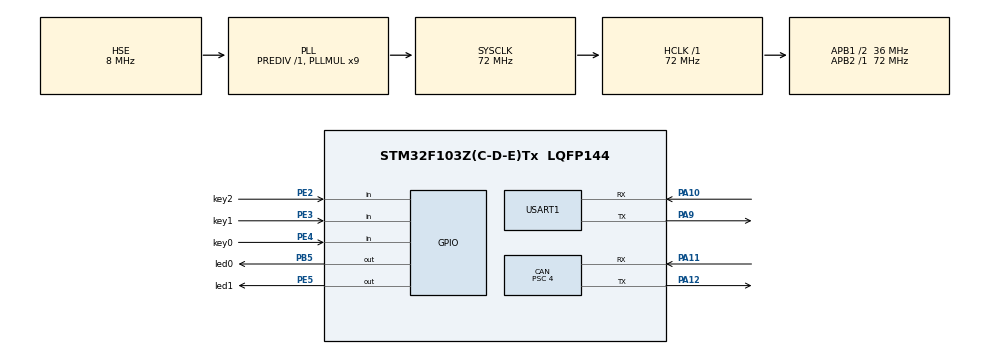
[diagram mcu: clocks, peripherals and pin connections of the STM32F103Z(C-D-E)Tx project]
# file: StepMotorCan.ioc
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CAN.BS1=CAN_BS1_9TQ
CAN.BS2=CAN_BS2_8TQ
CAN.CalculateBaudRate=500000
CAN.CalculateTimeBit=2000
CAN.CalculateTimeQuantum=111.11111111111111
CAN.Prescaler=4
Dma.Request0=USART1_TX
Dma.USART1_TX.0.Direction=DMA_MEMORY_TO_PERIPH
Dma.USART1_TX.0.Instance=DMA1_Channel4
Dma.USART1_TX.0.MemDataAlignment=DMA_MDATAALIGN_BYTE
Dma.USART1_TX.0.MemInc=DMA_MINC_ENABLE
Dma.USART1_TX.0.Mode=DMA_NORMAL
Dma.USART1_TX.0.PeriphDataAlignment=DMA_PDATAALIGN_BYTE
Dma.USART1_TX.0.PeriphInc=DMA_PINC_DISABLE
Dma.USART1_TX.0.Priority=DMA_PRIORITY_LOW
FREERTOS.Tasks01=defaultTask,24,256,StartDefaultTask,Default,NULL,Dynamic,NULL,NULL;ledBlinkTask,8,128,StartTask02,Default,NULL,Dynamic,NULL,NULL;canTask,8,256,StartTask03,Default,NULL,Dynamic,NULL,NULL;speedLoopTask,8,128,StartTask04,Default,NULL,Dynamic,NULL,NULL
FREERTOS.configMINIMAL_STACK_SIZE=128
FREERTOS.configTOTAL_HEAP_SIZE=4096
FREERTOS.configUSE_NEWLIB_REENTRANT=1
Mcu.Family=STM32F1
Mcu.Name=STM32F103Z(C-D-E)Tx
Mcu.Package=LQFP144
NVIC.DMA1_Channel4_IRQn=true\:5\:0\:false\:false\:true\:true\:false\:true\:true
NVIC.PriorityGroup=NVIC_PRIORITYGROUP_4
NVIC.TIM8_UP_IRQn=true\:15\:0\:false\:false\:true\:false\:false\:true\:true
NVIC.TimeBase=TIM8_UP_IRQn
NVIC.TimeBaseIP=TIM8
NVIC.USART1_IRQn=true\:5\:0\:false\:false\:true\:true\:true\:true\:true
NVIC.USB_LP_CAN1_RX0_IRQn=true\:5\:0\:false\:false\:true\:true\:true\:true\:true
OSC_IN.Mode=HSE-External-Oscillator
OSC_IN.Signal=RCC_OSC_IN
OSC_OUT.Mode=HSE-External-Oscillator
OSC_OUT.Signal=RCC_OSC_OUT
PA10.Mode=Asynchronous
PA10.Signal=USART1_RX
PA11.Mode=CAN_Activate
PA11.Signal=CAN_RX
PA12.Mode=CAN_Activate
PA12.Signal=CAN_TX
PA13.Mode=Serial_Wire
PA13.Signal=SYS_JTMS-SWDIO
PA14.Mode=Serial_Wire
PA14.Signal=SYS_JTCK-SWCLK
PA9.Mode=Asynchronous
PA9.Signal=USART1_TX
PB5.GPIO_Label=led0
PB5.Signal=GPIO_Output
PC14-OSC32_IN.Mode=LSE-External-Oscillator
PC14-OSC32_IN.Signal=RCC_OSC32_IN
PC15-OSC32_OUT.Mode=LSE-External-Oscillator
PC15-OSC32_OUT.Signal=RCC_OSC32_OUT
PE2.GPIO_Label=key2
PE2.GPIO_PuPd=GPIO_PULLUP
PE2.Signal=GPIO_Input
PE3.GPIO_Label=key1
PE3.GPIO_PuPd=GPIO_PULLUP
PE3.Signal=GPIO_Input
PE4.GPIO_Label=key0
PE4.GPIO_PuPd=GPIO_PULLUP
PE4.Signal=GPIO_Input
PE5.GPIO_Label=led1
PE5.Signal=GPIO_Output
ProjectManager.HeapSize=0x200
ProjectManager.StackSize=0x400
ProjectManager.TargetToolchain=STM32CubeIDE
RCC.AHBFreq_Value=72000000
RCC.APB1CLKDivider=RCC_HCLK_DIV2
RCC.APB1Freq_Value=36000000
RCC.APB1TimFreq_Value=72000000
RCC.APB2Freq_Value=72000000
RCC.APB2TimFreq_Value=72000000
RCC.HCLKFreq_Value=72000000
RCC.PLLMUL=RCC_PLL_MUL9
RCC.PLLSourceVirtual=RCC_PLLSOURCE_HSE
RCC.SYSCLKFreq_VALUE=72000000
RCC.SYSCLKSource=RCC_SYSCLKSOURCE_PLLCLK
RCC.USBFreq_Value=72000000
USART1.VirtualMode=VM_ASYNC
VP_FREERTOS_VS_CMSIS_V2.Mode=CMSIS_V2
VP_SYS_VS_tim8.Mode=TIM8
board=custom

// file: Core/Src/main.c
/* USER CODE BEGIN Header */
/**
  ******************************************************************************
  * @file           : main.c
  * @brief          : Main program body
  ******************************************************************************
  * @attention
  *
  * Copyright (c) 2024 STMicroelectronics.
  * All rights reserved.
  *
  * This software is licensed under terms that can be found in the LICENSE file
  * in the root directory of this software component.
  * If no LICENSE file comes with this software, it is provided AS-IS.
  *
  ******************************************************************************
  */
/* USER CODE END Header */
#include "main.h"
#include "cmsis_os.h"
#include "can.h"
#include "dma.h"
#include "usart.h"
#include "gpio.h"

/* USER CODE BEGIN PV */
stepmotor_device_t motor0= {
		  .device_id = motor0CanAddress,
		  .position = 0,
		  .target_position = 0,
		  .speed = 0,
		};
/* USER CODE END PV */

void SystemClock_Config(void);
void MX_FREERTOS_Init(void);

int main(void)
{

  /* MCU Configuration--------------------------------------------------------*/

  /* Reset of all peripherals, Initializes the Flash interface and the Systick. */
  HAL_Init();

  /* Configure the system clock */
  SystemClock_Config();

  /* Initialize all configured peripherals */
  MX_GPIO_Init();
  MX_DMA_Init();
  MX_CAN_Init();
  MX_USART1_UART_Init();

  /* Init scheduler */
  osKernelInitialize();

  /* Call init function for freertos objects (in cmsis_os2.c) */
  MX_FREERTOS_Init();

  /* Start scheduler */
  osKernelStart();

  /* We should never get here as control is now taken by the scheduler */

  /* Infinite loop */
  while (1)
  {

  }
}

void SystemClock_Config(void)
{
  RCC_OscInitTypeDef RCC_OscInitStruct = {0};
  RCC_ClkInitTypeDef RCC_ClkInitStruct = {0};

  /** Initializes the RCC Oscillators according to the specified parameters
  * in the RCC_OscInitTypeDef structure.
  */
  RCC_OscInitStruct.OscillatorType = RCC_OSCILLATORTYPE_HSE;
  RCC_OscInitStruct.HSEState = RCC_HSE_ON;
  RCC_OscInitStruct.HSEPredivValue = RCC_HSE_PREDIV_DIV1;
  RCC_OscInitStruct.HSIState = RCC_HSI_ON;
  RCC_OscInitStruct.PLL.PLLState = RCC_PLL_ON;
  RCC_OscInitStruct.PLL.PLLSource = RCC_PLLSOURCE_HSE;
  RCC_OscInitStruct.PLL.PLLMUL = RCC_PLL_MUL9;
  if (HAL_RCC_OscConfig(&RCC_OscInitStruct) != HAL_OK)
  {
    Error_Handler();
  }

  /** Initializes the CPU, AHB and APB buses clocks
  */
  RCC_ClkInitStruct.ClockType = RCC_CLOCKTYPE_HCLK|RCC_CLOCKTYPE_SYSCLK
                              |RCC_CLOCKTYPE_PCLK1|RCC_CLOCKTYPE_PCLK2;
  RCC_ClkInitStruct.SYSCLKSource = RCC_SYSCLKSOURCE_PLLCLK;
  RCC_ClkInitStruct.AHBCLKDivider = RCC_SYSCLK_DIV1;
  RCC_ClkInitStruct.APB1CLKDivider = RCC_HCLK_DIV2;
  RCC_ClkInitStruct.APB2CLKDivider = RCC_HCLK_DIV1;

  if (HAL_RCC_ClockConfig(&RCC_ClkInitStruct, FLASH_LATENCY_2) != HAL_OK)
  {
    Error_Handler();
  }
}

void HAL_TIM_PeriodElapsedCallback(TIM_HandleTypeDef *htim)
{
  if (htim->Instance == TIM8) {
    HAL_IncTick();
  }
}

void Error_Handler(void)
{
  __disable_irq();
  while (1)
  {
  }
}

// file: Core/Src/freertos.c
/* USER CODE BEGIN Header */
/**
  ******************************************************************************
  * File Name          : freertos.c
  * Description        : Code for freertos applications
  ******************************************************************************
  * @attention
  *
  * Copyright (c) 2024 STMicroelectronics.
  * All rights reserved.
  *
  * This software is licensed under terms that can be found in the LICENSE file
  * in the root directory of this software component.
  * If no LICENSE file comes with this software, it is provided AS-IS.
  *
  ******************************************************************************
  */
/* USER CODE END Header */

#include "FreeRTOS.h"
#include "task.h"
#include "main.h"
#include "cmsis_os.h"

/* USER CODE BEGIN Variables */
uint8_t u_buf[256];
/* USER CODE END Variables */
/* Definitions for defaultTask */
osThreadId_t defaultTaskHandle;
const osThreadAttr_t defaultTask_attributes = {
  .name = "defaultTask",
  .stack_size = 256 * 4,
  .priority = (osPriority_t) osPriorityNormal,
};
/* Definitions for ledBlinkTask */
osThreadId_t ledBlinkTaskHandle;
const osThreadAttr_t ledBlinkTask_attributes = {
  .name = "ledBlinkTask",
  .stack_size = 128 * 4,
  .priority = (osPriority_t) osPriorityLow,
};
/* Definitions for canTask */
osThreadId_t canTaskHandle;
const osThreadAttr_t canTask_attributes = {
  .name = "canTask",
  .stack_size = 256 * 4,
  .priority = (osPriority_t) osPriorityLow,
};
/* Definitions for speedLoopTask */
osThreadId_t speedLoopTaskHandle;
const osThreadAttr_t speedLoopTask_attributes = {
  .name = "speedLoopTask",
  .stack_size = 128 * 4,
  .priority = (osPriority_t) osPriorityLow,
};

void StartDefaultTask(void *argument);
void StartTask02(void *argument);
void StartTask03(void *argument);
void StartTask04(void *argument);

void MX_FREERTOS_Init(void); /* (MISRA C 2004 rule 8.1) */

void MX_FREERTOS_Init(void) {

  /* Create the thread(s) */
  /* creation of defaultTask */
  defaultTaskHandle = osThreadNew(StartDefaultTask, NULL, &defaultTask_attributes);

  /* creation of ledBlinkTask */
  ledBlinkTaskHandle = osThreadNew(StartTask02, NULL, &ledBlinkTask_attributes);

  /* creation of canTask */
  canTaskHandle = osThreadNew(StartTask03, NULL, &canTask_attributes);

  /* creation of speedLoopTask */
  speedLoopTaskHandle = osThreadNew(StartTask04, NULL, &speedLoopTask_attributes);

}

void StartDefaultTask(void *argument)
{
  for(;;)
  {
    osDelay(1);
  }
}

void StartTask02(void *argument)
{
  /* USER CODE BEGIN StartTask02 */
  /* Infinite loop */
  for(;;)
  {
	HAL_GPIO_TogglePin(led1_GPIO_Port, led1_Pin);
	HAL_GPIO_TogglePin(led0_GPIO_Port, led0_Pin);
	vTaskDelay(pdMS_TO_TICKS(1000));
    osDelay(1);
  }
  /* USER CODE END StartTask02 */
}

void StartTask03(void *argument)
{
  /* USER CODE BEGIN StartTask03 */
  /* Infinite loop */
  for(;;)
  {
//	  if(KEY0 == 0)
//	  {
//		  vTaskDelay(pdMS_TO_TICKS(50));
//		  printf("Key0 Busy\n");
//
//		  emmV5PosControl(&motor0,0,2500,200,3200,0,0);
//	  }
//	  if(KEY1 == 0)
//	  {
//		  vTaskDelay(pdMS_TO_TICKS(50));
//		  printf("Key1 Busy\n");
//		  emmV5ReadSysParams(&motor0,S_CPOS);
//		  printf("pos: %ld\n", motor0.position);
//		  printf("angle: %.1f\n", motor0.angle);
//	  }
//	  if(KEY2 == 0)
//	  {
//		  vTaskDelay(pdMS_TO_TICKS(50));
//		  printf("Key2 Busy\n");
//		  emmV5PosControl(&motor0,1,2500,200,3200,0,0);
//	  }
	  vTaskDelay(pdMS_TO_TICKS(50));
  }
  /* USER CODE END StartTask03 */
}

void StartTask04(void *argument)
{
  /* USER CODE BEGIN StartTask04 */
  /* Infinite loop */
  for(;;)
  {
	  if(KEY0 == 0)
	  {
		  emmV5EnControl(&motor0,1,0);
		  vTaskDelay(pdMS_TO_TICKS(50));
		  printf("Key0 Busy\n");
		  emmV5VelControl(&motor0,0,500,200,0);
	  }
	  if(KEY1 == 0)
	  {
		  emmV5EnControl(&motor0,0,0);
		  vTaskDelay(pdMS_TO_TICKS(50));
		  printf("Key1 Busy\n");
		  emmV5ReadSysParams(&motor0,S_VEL);
		  printf("speed: %d\n", motor0.speed);
	  }
	  if(KEY2 == 0)
	  {
		  emmV5EnControl(&motor0,1,0);
		  vTaskDelay(pdMS_TO_TICKS(50));
		  printf("Key2 Busy\n");
		  emmV5VelControl(&motor0,1,500,200,0);
	  }
    osDelay(1);
  }
  /* USER CODE END StartTask04 */
}
